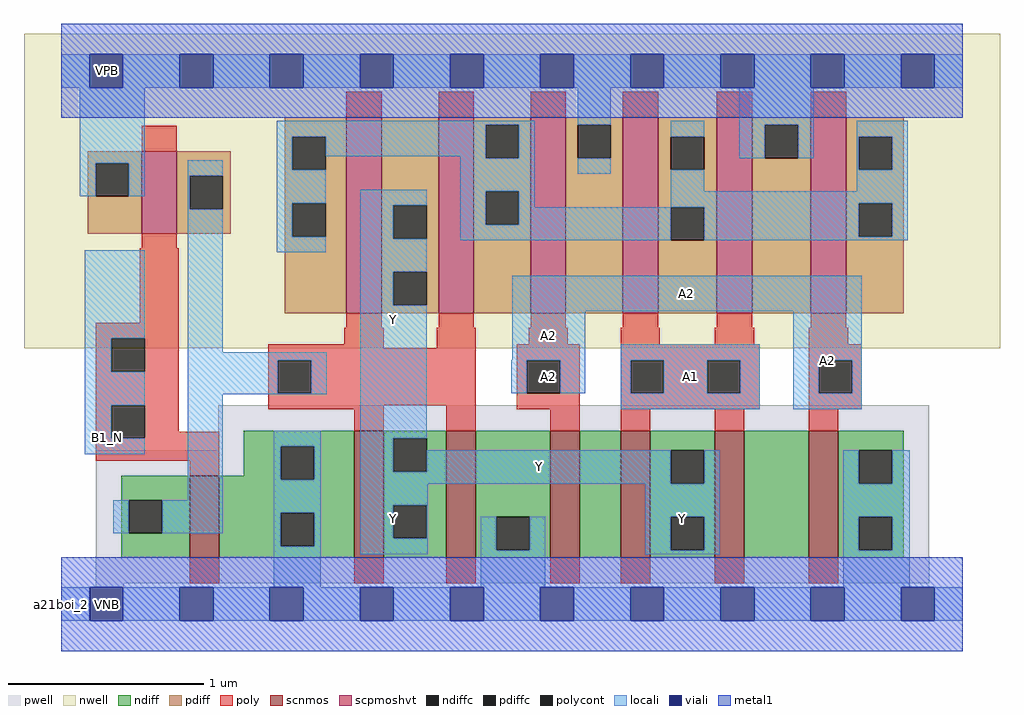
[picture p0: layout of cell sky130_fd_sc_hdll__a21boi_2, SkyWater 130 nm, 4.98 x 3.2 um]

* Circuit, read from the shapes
.subckt sky130_fd_sc_hdll__a21boi_2 A1 A2 B1_N VGND VNB VPB VPWR Y
XM1 VGND B1_N n1 VNB sky130_fd_pr__nfet_01v8 w=0.42 l=0.15
XM2 Y n1 VGND VNB sky130_fd_pr__nfet_01v8 w=0.65 l=0.15 m=2
XM3 n2 A2 VGND VNB sky130_fd_pr__nfet_01v8 w=0.65 l=0.15
XM4 Y A1 n2 VNB sky130_fd_pr__nfet_01v8 w=0.65 l=0.15
XM5 n3 A1 Y VNB sky130_fd_pr__nfet_01v8 w=0.65 l=0.15
XM6 VGND A2 n3 VNB sky130_fd_pr__nfet_01v8 w=0.65 l=0.15
XM7 n1 B1_N VPWR VPB sky130_fd_pr__pfet_01v8_hvt w=0.42 l=0.18
XM8 Y n1 n4 VPB sky130_fd_pr__pfet_01v8_hvt w=1 l=0.18 m=2
XM9 VPWR A2 n4 VPB sky130_fd_pr__pfet_01v8_hvt w=1 l=0.18 m=2
XM10 n4 A1 VPWR VPB sky130_fd_pr__pfet_01v8_hvt w=1 l=0.18 m=2
.ends

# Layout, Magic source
magic
tech sky130A
magscale 1 2
<< nwell >>
rect -38 261 958 582
<< pwell >>
rect 160 157 886 203
rect 35 21 886 157
rect 35 17 64 21
rect 30 -17 64 17
<< scnmos >>
rect 131 47 161 131
rect 299 47 329 177
rect 393 47 423 177
rect 499 47 529 177
rect 571 47 601 177
rect 667 47 697 177
rect 763 47 793 177
<< scpmoshvt >>
rect 82 378 118 462
rect 291 297 327 497
rect 385 297 421 497
rect 479 297 515 497
rect 573 297 609 497
rect 669 297 705 497
rect 765 297 801 497
<< ndiff >>
rect 186 161 299 177
rect 186 131 224 161
rect 61 106 131 131
rect 61 72 69 106
rect 103 72 131 106
rect 61 47 131 72
rect 161 127 224 131
rect 258 127 299 161
rect 161 93 299 127
rect 161 59 224 93
rect 258 59 299 93
rect 161 47 299 59
rect 329 169 393 177
rect 329 135 339 169
rect 373 135 393 169
rect 329 101 393 135
rect 329 67 339 101
rect 373 67 393 101
rect 329 47 393 67
rect 423 89 499 177
rect 423 55 444 89
rect 478 55 499 89
rect 423 47 499 55
rect 529 47 571 177
rect 601 157 667 177
rect 601 123 622 157
rect 656 123 667 157
rect 601 89 667 123
rect 601 55 622 89
rect 656 55 667 89
rect 601 47 667 55
rect 697 47 763 177
rect 793 157 860 177
rect 793 123 814 157
rect 848 123 860 157
rect 793 89 860 123
rect 793 55 814 89
rect 848 55 860 89
rect 793 47 860 55
<< pdiff >>
rect 228 477 291 497
rect 27 450 82 462
rect 27 416 35 450
rect 69 416 82 450
rect 27 378 82 416
rect 118 437 173 462
rect 118 403 131 437
rect 165 403 173 437
rect 118 378 173 403
rect 228 443 236 477
rect 270 443 291 477
rect 228 409 291 443
rect 228 375 236 409
rect 270 375 291 409
rect 228 297 291 375
rect 327 407 385 497
rect 327 373 339 407
rect 373 373 385 407
rect 327 339 385 373
rect 327 305 339 339
rect 373 305 385 339
rect 327 297 385 305
rect 421 489 479 497
rect 421 455 433 489
rect 467 455 479 489
rect 421 421 479 455
rect 421 387 433 421
rect 467 387 479 421
rect 421 297 479 387
rect 515 489 573 497
rect 515 455 527 489
rect 561 455 573 489
rect 515 297 573 455
rect 609 477 669 497
rect 609 443 622 477
rect 656 443 669 477
rect 609 405 669 443
rect 609 371 622 405
rect 656 371 669 405
rect 609 297 669 371
rect 705 489 765 497
rect 705 455 718 489
rect 752 455 765 489
rect 705 297 765 455
rect 801 477 860 497
rect 801 443 814 477
rect 848 443 860 477
rect 801 409 860 443
rect 801 375 814 409
rect 848 375 860 409
rect 801 297 860 375
<< ndiffc >>
rect 69 72 103 106
rect 224 127 258 161
rect 224 59 258 93
rect 339 135 373 169
rect 339 67 373 101
rect 444 55 478 89
rect 622 123 656 157
rect 622 55 656 89
rect 814 123 848 157
rect 814 55 848 89
<< pdiffc >>
rect 35 416 69 450
rect 131 403 165 437
rect 236 443 270 477
rect 236 375 270 409
rect 339 373 373 407
rect 339 305 373 339
rect 433 455 467 489
rect 433 387 467 421
rect 527 455 561 489
rect 622 443 656 477
rect 622 371 656 405
rect 718 455 752 489
rect 814 443 848 477
rect 814 375 848 409
<< poly >>
rect 291 497 327 523
rect 385 497 421 523
rect 479 497 515 523
rect 573 497 609 523
rect 669 497 705 523
rect 765 497 801 523
rect 82 462 118 488
rect 82 363 118 378
rect 80 287 120 363
rect 35 271 120 287
rect 291 282 327 297
rect 385 282 421 297
rect 479 282 515 297
rect 573 282 609 297
rect 669 282 705 297
rect 765 282 801 297
rect 35 237 51 271
rect 85 237 120 271
rect 289 265 329 282
rect 35 203 120 237
rect 35 169 51 203
rect 85 176 120 203
rect 211 261 329 265
rect 383 261 423 282
rect 477 265 517 282
rect 571 265 611 282
rect 667 265 707 282
rect 763 265 803 282
rect 211 249 423 261
rect 211 215 221 249
rect 255 215 423 249
rect 211 203 423 215
rect 211 199 329 203
rect 299 177 329 199
rect 393 177 423 203
rect 465 249 529 265
rect 465 215 475 249
rect 509 215 529 249
rect 465 199 529 215
rect 499 177 529 199
rect 571 249 713 265
rect 571 215 581 249
rect 615 215 659 249
rect 693 215 713 249
rect 571 199 713 215
rect 763 249 817 265
rect 763 215 773 249
rect 807 215 817 249
rect 763 199 817 215
rect 571 177 601 199
rect 667 177 697 199
rect 763 177 793 199
rect 85 169 161 176
rect 35 146 161 169
rect 131 131 161 146
rect 131 21 161 47
rect 299 21 329 47
rect 393 21 423 47
rect 499 21 529 47
rect 571 21 601 47
rect 667 21 697 47
rect 763 21 793 47
<< polycont >>
rect 51 237 85 271
rect 51 169 85 203
rect 221 215 255 249
rect 475 215 509 249
rect 581 215 615 249
rect 659 215 693 249
rect 773 215 807 249
<< locali >>
rect 0 527 29 561
rect 63 527 121 561
rect 155 527 213 561
rect 247 527 305 561
rect 339 527 397 561
rect 431 527 489 561
rect 523 527 581 561
rect 615 527 673 561
rect 707 527 765 561
rect 799 527 857 561
rect 891 527 920 561
rect 19 450 85 527
rect 220 489 483 493
rect 220 477 433 489
rect 19 416 35 450
rect 69 416 85 450
rect 129 437 165 453
rect 129 403 131 437
rect 24 271 85 361
rect 24 237 51 271
rect 24 203 85 237
rect 24 169 51 203
rect 24 153 85 169
rect 129 257 165 403
rect 220 443 236 477
rect 270 457 433 477
rect 220 409 270 443
rect 407 455 433 457
rect 467 455 483 489
rect 220 375 236 409
rect 220 359 270 375
rect 305 407 373 423
rect 305 373 339 407
rect 305 339 373 373
rect 407 421 483 455
rect 527 489 561 527
rect 527 439 561 455
rect 622 477 656 493
rect 692 489 768 527
rect 692 455 718 489
rect 752 455 768 489
rect 812 477 864 493
rect 407 387 433 421
rect 467 405 483 421
rect 622 421 656 443
rect 812 443 814 477
rect 848 443 864 477
rect 812 421 864 443
rect 622 409 864 421
rect 622 405 814 409
rect 467 387 622 405
rect 407 371 622 387
rect 656 375 814 405
rect 848 375 864 409
rect 656 371 864 375
rect 305 305 339 339
rect 129 249 271 257
rect 129 215 221 249
rect 255 215 271 249
rect 129 214 271 215
rect 129 106 165 214
rect 53 72 69 106
rect 103 72 165 106
rect 217 161 265 177
rect 217 127 224 161
rect 258 127 265 161
rect 217 93 265 127
rect 217 59 224 93
rect 258 59 265 93
rect 217 17 265 59
rect 305 169 373 305
rect 460 299 817 335
rect 460 249 535 299
rect 459 215 475 249
rect 509 215 535 249
rect 571 249 713 265
rect 571 215 581 249
rect 615 215 659 249
rect 693 215 713 249
rect 571 199 713 215
rect 747 249 817 299
rect 747 215 773 249
rect 807 215 817 249
rect 747 199 817 215
rect 305 135 339 169
rect 373 135 622 157
rect 305 123 622 135
rect 656 123 672 157
rect 305 101 374 123
rect 305 67 339 101
rect 373 67 374 101
rect 596 89 672 123
rect 305 51 374 67
rect 428 55 444 89
rect 478 55 494 89
rect 428 17 494 55
rect 596 55 622 89
rect 656 55 672 89
rect 596 51 672 55
rect 798 123 814 157
rect 848 123 866 157
rect 798 89 866 123
rect 798 55 814 89
rect 848 55 866 89
rect 798 17 866 55
rect 0 -17 29 17
rect 63 -17 121 17
rect 155 -17 213 17
rect 247 -17 305 17
rect 339 -17 397 17
rect 431 -17 489 17
rect 523 -17 581 17
rect 615 -17 673 17
rect 707 -17 765 17
rect 799 -17 857 17
rect 891 -17 920 17
<< viali >>
rect 29 527 63 561
rect 121 527 155 561
rect 213 527 247 561
rect 305 527 339 561
rect 397 527 431 561
rect 489 527 523 561
rect 581 527 615 561
rect 673 527 707 561
rect 765 527 799 561
rect 857 527 891 561
rect 29 -17 63 17
rect 121 -17 155 17
rect 213 -17 247 17
rect 305 -17 339 17
rect 397 -17 431 17
rect 489 -17 523 17
rect 581 -17 615 17
rect 673 -17 707 17
rect 765 -17 799 17
rect 857 -17 891 17
<< metal1 >>
rect 0 561 920 592
rect 0 527 29 561
rect 63 527 121 561
rect 155 527 213 561
rect 247 527 305 561
rect 339 527 397 561
rect 431 527 489 561
rect 523 527 581 561
rect 615 527 673 561
rect 707 527 765 561
rect 799 527 857 561
rect 891 527 920 561
rect 0 496 920 527
rect 0 17 920 48
rect 0 -17 29 17
rect 63 -17 121 17
rect 155 -17 213 17
rect 247 -17 305 17
rect 339 -17 397 17
rect 431 -17 489 17
rect 523 -17 581 17
rect 615 -17 673 17
rect 707 -17 765 17
rect 799 -17 857 17
rect 891 -17 920 17
rect 0 -48 920 -17
<< labels >>
flabel pwell s 30 -17 64 17 0 FreeSans 200 0 0 0 VNB
port 5 nsew ground bidirectional
flabel nwell s 30 527 64 561 0 FreeSans 200 0 0 0 VPB
port 6 nsew power bidirectional
flabel metal1 s 30 527 64 561 0 FreeSans 200 0 0 0 VPWR
port 7 nsew power bidirectional
flabel metal1 s 30 -17 64 17 0 FreeSans 200 0 0 0 VGND
port 4 nsew ground bidirectional
flabel locali s 30 153 64 187 0 FreeSans 340 0 0 0 B1_N
port 3 nsew signal input
flabel locali s 747 199 817 299 0 FreeSans 340 0 0 0 A2
port 2 nsew signal input
flabel locali s 571 199 713 265 0 FreeSans 340 0 0 0 A1
port 1 nsew signal input
flabel locali s 596 51 672 123 0 FreeSans 340 0 0 0 Y
port 8 nsew signal output
rlabel comment s 0 0 0 0 4 a21boi_2
rlabel locali s 460 299 817 335 1 A2
port 2 nsew signal input
rlabel locali s 460 249 535 299 1 A2
port 2 nsew signal input
rlabel locali s 459 215 535 249 1 A2
port 2 nsew signal input
rlabel locali s 305 157 373 423 1 Y
port 8 nsew signal output
rlabel locali s 305 123 672 157 1 Y
port 8 nsew signal output
rlabel locali s 305 51 374 123 1 Y
port 8 nsew signal output
<< properties >>
string LEFsite unithd
string LEFclass CORE
string FIXED_BBOX 0 0 920 544
string GDS_FILE $PDKPATH/libs.ref/sky130_fd_sc_hdll/gds/sky130_fd_sc_hdll.gds
string LEFsymmetry X Y R90
string GDS_END 1625696
string GDS_START 1618696
string LEFproperties maskLayoutSubType "abstract" prCellType "standard" originalViewName "layout"
<< end >>
